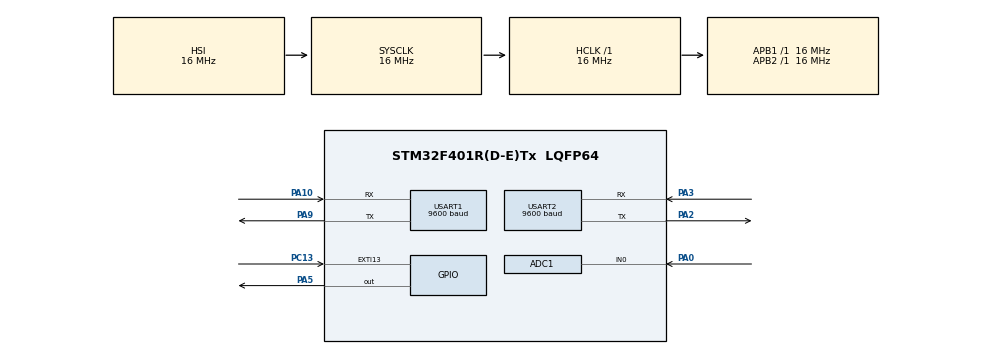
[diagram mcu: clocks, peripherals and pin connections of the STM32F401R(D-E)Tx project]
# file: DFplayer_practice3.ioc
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ADC1.Channel-0\#ChannelRegularConversion=ADC_CHANNEL_0
ADC1.NbrOfConversionFlag=1
ADC1.Rank-0\#ChannelRegularConversion=1
ADC1.SamplingTime-0\#ChannelRegularConversion=ADC_SAMPLETIME_3CYCLES
ADC1.master=1
Mcu.Family=STM32F4
Mcu.Name=STM32F401R(D-E)Tx
Mcu.Package=LQFP64
NVIC.ADC_IRQn=true\:2\:0\:true\:false\:true\:true\:true
NVIC.EXTI15_10_IRQn=true\:1\:0\:true\:false\:true\:true\:true
NVIC.PriorityGroup=NVIC_PRIORITYGROUP_4
NVIC.USART1_IRQn=true\:2\:0\:true\:false\:true\:true\:true
NVIC.USART2_IRQn=true\:2\:0\:true\:false\:true\:true\:true
PA0-WKUP.Signal=ADCx_IN0
PA10.Mode=Asynchronous
PA10.Signal=USART1_RX
PA2.Mode=Asynchronous
PA2.Signal=USART2_TX
PA3.Mode=Asynchronous
PA3.Signal=USART2_RX
PA5.PinState=GPIO_PIN_SET
PA5.Signal=GPIO_Output
PA9.Mode=Asynchronous
PA9.Signal=USART1_TX
PC13-ANTI_TAMP.GPIO_ModeDefaultEXTI=GPIO_MODE_IT_FALLING
PC13-ANTI_TAMP.Signal=GPXTI13
ProjectManager.HeapSize=0x200
ProjectManager.StackSize=0x400
ProjectManager.TargetToolchain=TrueSTUDIO
RCC.AHBFreq_Value=16000000
RCC.APB1Freq_Value=16000000
RCC.APB2Freq_Value=16000000
RCC.CortexFreq_Value=16000000
RCC.HSE_VALUE=25000000
RCC.HSI_VALUE=16000000
RCC.LSE_VALUE=32768
RCC.SYSCLKFreq_VALUE=16000000
RCC.VCOOutputFreq_Value=192000000
SH.ADCx_IN0.0=ADC1_IN0,IN0
USART1.BaudRate=9600
USART1.VirtualMode=VM_ASYNC
USART2.BaudRate=9600
USART2.VirtualMode=VM_ASYNC
board=custom

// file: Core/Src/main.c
/* USER CODE BEGIN Header */
/**
  ******************************************************************************
  * @file           : main.c
  * @brief          : Main program body
  ******************************************************************************
  * @attention
  *
  * <h2><center>&copy; Copyright (c) 2021 STMicroelectronics.
  * All rights reserved.</center></h2>
  *
  * This software component is licensed by ST under BSD 3-Clause license,
  * the "License"; You may not use this file except in compliance with the
  * License. You may obtain a copy of the License at:
  *                        opensource.org/licenses/BSD-3-Clause
  *
  ******************************************************************************
  2021/7/31
         仕様：青ボタンを押すと、DFplayerで次の曲が再生
	　　　　AD変換で、可変抵抗を回すと、音量を変更する。
	　　　　LED：ON
	    　　 上記動作の関数を作成する。
	使用マイコンボード：nucleo f401re

	使用PIN：
	PC_13：ボタン
	PA_0：AD変換入力
	PA_2：USART2_TX
	PA_3：USART2_RX
	PA_5：LED ON
	PA_10：USART1_RX
    PA_10：USART1_TX
  */
/* USER CODE END Header */
#include "main.h"

ADC_HandleTypeDef hadc1;

UART_HandleTypeDef huart1;
UART_HandleTypeDef huart2;

void SystemClock_Config(void);
static void MX_GPIO_Init(void);
static void MX_ADC1_Init(void);
static void MX_USART1_UART_Init(void);
static void MX_USART2_UART_Init(void);

/* USER CODE BEGIN 0 */

//グローバル変数の宣言
__IO uint8_t sw1;
__IO uint32_t analogValue;

//関数のプロトタイプ宣言
void DFR_Send(uint8_t fd,uint8_t paraH,uint8_t paraL);
void DFR_NEXT();
void DFR_VOL(uint8_t vol);

/* USER CODE END 0 */

int main(void)
{
  /* USER CODE BEGIN 1 */
	 //定数宣言
	  const int AD = 4096;		//AD変換数値変更用
	  const int VOLMAX = 0x1E;  //音量最大：30

	  //変数宣言
	  uint8_t volume1=0; //音量用変数
	  uint8_t volume2=0; //音量保管用変数
  /* USER CODE END 1 */

  /* MCU Configuration--------------------------------------------------------*/

  /* Reset of all peripherals, Initializes the Flash interface and the Systick. */
  HAL_Init();

  /* Configure the system clock */
  SystemClock_Config();

  /* Initialize all configured peripherals */
  MX_GPIO_Init();
  MX_ADC1_Init();
  MX_USART1_UART_Init();
  MX_USART2_UART_Init();

  /* Infinite loop */
  while (1)
  {

    /* USER CODE BEGIN 3 */
	  //AD変換開始
	  HAL_ADC_Start(&hadc1);
	  //ポーイング処理
	  if(HAL_ADC_PollForConversion(&hadc1,100)==HAL_OK)
	  {
		  analogValue = HAL_ADC_GetValue(&hadc1);
		  volume1 = analogValue*VOLMAX/AD;
	  }
	  //AD変換終了
	  HAL_ADC_Stop(&hadc1);

	  if(volume1 != volume2){
		  DFR_VOL(volume1);
	  	  volume2 = volume1;
	  }
	  //スイッチON：次の曲を再生する。
	  if(sw1 == 1){
		  DFR_NEXT();
		  sw1 = 0;
	  }
  }
  /* USER CODE END 3 */
}

void SystemClock_Config(void)
{
  RCC_OscInitTypeDef RCC_OscInitStruct = {0};
  RCC_ClkInitTypeDef RCC_ClkInitStruct = {0};

  /** Configure the main internal regulator output voltage
  */
  __HAL_RCC_PWR_CLK_ENABLE();
  __HAL_PWR_VOLTAGESCALING_CONFIG(PWR_REGULATOR_VOLTAGE_SCALE2);
  /** Initializes the RCC Oscillators according to the specified parameters
  * in the RCC_OscInitTypeDef structure.
  */
  RCC_OscInitStruct.OscillatorType = RCC_OSCILLATORTYPE_HSI;
  RCC_OscInitStruct.HSIState = RCC_HSI_ON;
  RCC_OscInitStruct.HSICalibrationValue = RCC_HSICALIBRATION_DEFAULT;
  RCC_OscInitStruct.PLL.PLLState = RCC_PLL_NONE;
  if (HAL_RCC_OscConfig(&RCC_OscInitStruct) != HAL_OK)
  {
    Error_Handler();
  }
  /** Initializes the CPU, AHB and APB buses clocks
  */
  RCC_ClkInitStruct.ClockType = RCC_CLOCKTYPE_HCLK|RCC_CLOCKTYPE_SYSCLK
                              |RCC_CLOCKTYPE_PCLK1|RCC_CLOCKTYPE_PCLK2;
  RCC_ClkInitStruct.SYSCLKSource = RCC_SYSCLKSOURCE_HSI;
  RCC_ClkInitStruct.AHBCLKDivider = RCC_SYSCLK_DIV1;
  RCC_ClkInitStruct.APB1CLKDivider = RCC_HCLK_DIV1;
  RCC_ClkInitStruct.APB2CLKDivider = RCC_HCLK_DIV1;

  if (HAL_RCC_ClockConfig(&RCC_ClkInitStruct, FLASH_LATENCY_0) != HAL_OK)
  {
    Error_Handler();
  }
}

static void MX_ADC1_Init(void)
{

  ADC_ChannelConfTypeDef sConfig = {0};

  /** Configure the global features of the ADC (Clock, Resolution, Data Alignment and number of conversion)
  */
  hadc1.Instance = ADC1;
  hadc1.Init.ClockPrescaler = ADC_CLOCK_SYNC_PCLK_DIV2;
  hadc1.Init.Resolution = ADC_RESOLUTION_12B;
  hadc1.Init.ScanConvMode = DISABLE;
  hadc1.Init.ContinuousConvMode = DISABLE;
  hadc1.Init.DiscontinuousConvMode = DISABLE;
  hadc1.Init.ExternalTrigConvEdge = ADC_EXTERNALTRIGCONVEDGE_NONE;
  hadc1.Init.ExternalTrigConv = ADC_SOFTWARE_START;
  hadc1.Init.DataAlign = ADC_DATAALIGN_RIGHT;
  hadc1.Init.NbrOfConversion = 1;
  hadc1.Init.DMAContinuousRequests = DISABLE;
  hadc1.Init.EOCSelection = ADC_EOC_SINGLE_CONV;
  if (HAL_ADC_Init(&hadc1) != HAL_OK)
  {
    Error_Handler();
  }
  /** Configure for the selected ADC regular channel its corresponding rank in the sequencer and its sample time.
  */
  sConfig.Channel = ADC_CHANNEL_0;
  sConfig.Rank = 1;
  sConfig.SamplingTime = ADC_SAMPLETIME_3CYCLES;
  if (HAL_ADC_ConfigChannel(&hadc1, &sConfig) != HAL_OK)
  {
    Error_Handler();
  }

}

static void MX_USART1_UART_Init(void)
{

  huart1.Instance = USART1;
  huart1.Init.BaudRate = 9600;
  huart1.Init.WordLength = UART_WORDLENGTH_8B;
  huart1.Init.StopBits = UART_STOPBITS_1;
  huart1.Init.Parity = UART_PARITY_NONE;
  huart1.Init.Mode = UART_MODE_TX_RX;
  huart1.Init.HwFlowCtl = UART_HWCONTROL_NONE;
  huart1.Init.OverSampling = UART_OVERSAMPLING_16;
  if (HAL_UART_Init(&huart1) != HAL_OK)
  {
    Error_Handler();
  }

}

static void MX_USART2_UART_Init(void)
{

  huart2.Instance = USART2;
  huart2.Init.BaudRate = 9600;
  huart2.Init.WordLength = UART_WORDLENGTH_8B;
  huart2.Init.StopBits = UART_STOPBITS_1;
  huart2.Init.Parity = UART_PARITY_NONE;
  huart2.Init.Mode = UART_MODE_TX_RX;
  huart2.Init.HwFlowCtl = UART_HWCONTROL_NONE;
  huart2.Init.OverSampling = UART_OVERSAMPLING_16;
  if (HAL_UART_Init(&huart2) != HAL_OK)
  {
    Error_Handler();
  }

}

static void MX_GPIO_Init(void)
{
  GPIO_InitTypeDef GPIO_InitStruct = {0};

  /* GPIO Ports Clock Enable */
  __HAL_RCC_GPIOC_CLK_ENABLE();
  __HAL_RCC_GPIOA_CLK_ENABLE();

  /*Configure GPIO pin Output Level */
  HAL_GPIO_WritePin(GPIOA, GPIO_PIN_5, GPIO_PIN_SET);

  /*Configure GPIO pin : PC13 */
  GPIO_InitStruct.Pin = GPIO_PIN_13;
  GPIO_InitStruct.Mode = GPIO_MODE_IT_FALLING;
  GPIO_InitStruct.Pull = GPIO_NOPULL;
  HAL_GPIO_Init(GPIOC, &GPIO_InitStruct);

  /*Configure GPIO pin : PA5 */
  GPIO_InitStruct.Pin = GPIO_PIN_5;
  GPIO_InitStruct.Mode = GPIO_MODE_OUTPUT_PP;
  GPIO_InitStruct.Pull = GPIO_NOPULL;
  GPIO_InitStruct.Speed = GPIO_SPEED_FREQ_LOW;
  HAL_GPIO_Init(GPIOA, &GPIO_InitStruct);

  /* EXTI interrupt init*/
  HAL_NVIC_SetPriority(EXTI15_10_IRQn, 1, 0);
  HAL_NVIC_EnableIRQ(EXTI15_10_IRQn);

}

/* USER CODE BEGIN 4 */

//関数の作成
//DFPlayerのデータ送信関数
void DFR_Send(uint8_t fd,uint8_t paraH,uint8_t paraL){
	//配列の宣言
	//uint8_t dataset[]={};  //UART送信データ格納用配列
	uint8_t dataset[]={0x7E,0xFF,0x06,0x00,0x00,0x00,0x00,0xEF};
	dataset[3] = fd;		//function deseription の値
	dataset[5] = paraH;		//parameterのhigh data byteの値
	dataset[6] = paraL;		//parameterのlow data byteの値
	//USARTデータ送信処理
	HAL_UART_Transmit(&huart1,dataset,sizeof(dataset),100);
}

void DFR_NEXT(){
	DFR_Send(0x01,0x00,0x00);
}

void  DFR_VOL(uint8_t volume){
	DFR_Send(0x06,0x00,volume);
}

void HAL_GPIO_EXTI_Callback(uint16_t GPIO_Pin)
{
	if(GPIO_Pin == GPIO_PIN_13)
	{
		sw1 = 1;
	}
}

/* USER CODE END 4 */

void Error_Handler(void)
{
  __disable_irq();
  while (1)
  {
  }
}

/************************ (C) COPYRIGHT STMicroelectronics *****END OF FILE****/
